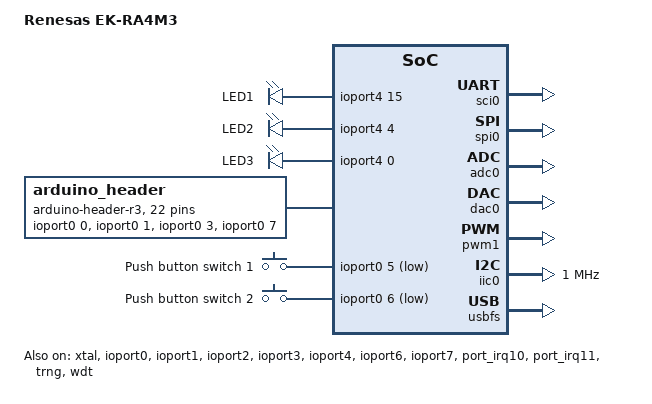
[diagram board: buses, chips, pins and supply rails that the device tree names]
/*
 * Copyright (c) 2024-2025 Renesas Electronics Corporation
 * SPDX-License-Identifier: Apache-2.0
 */

/dts-v1/;

#include <renesas/ra/ra4/r7fa4m3af3cfb.dtsi>
#include <dt-bindings/gpio/gpio.h>
#include <dt-bindings/input/input-event-codes.h>
#include <zephyr/dt-bindings/adc/adc.h>
#include <zephyr/dt-bindings/gpio/arduino-header-r3.h>

#include "ek_ra4m3-pinctrl.dtsi"

/ {
	model = "Renesas EK-RA4M3";
	compatible = "renesas,ra4m3", "renesas,ra";

	chosen {
		zephyr,sram = &sram0;
		zephyr,flash-controller = &flash1;
		zephyr,flash = &flash0;
		zephyr,console = &uart0;
		zephyr,shell-uart = &uart0;
		zephyr,entropy = &trng;
	};

	leds {
		compatible = "gpio-leds";
		led1: led1 {
			gpios = <&ioport4 15 GPIO_ACTIVE_HIGH>;
			label = "LED1";
		};
		led2: led2 {
			gpios = <&ioport4 4 GPIO_ACTIVE_HIGH>;
			label = "LED2";
		};
		led3: led3 {
			gpios = <&ioport4 0 GPIO_ACTIVE_HIGH>;
			label = "LED3";
		};
	};

	arduino_header: arduino-connector {
		compatible = "arduino-header-r3";
		#gpio-cells = <2>;
		gpio-map-mask = <0xffffffff 0xffffffc0>;
		gpio-map-pass-thru = <0 0x3f>;
		gpio-map = <ARDUINO_HEADER_R3_A0 0 &ioport0 0 0>,
			   <ARDUINO_HEADER_R3_A1 0 &ioport0 1 0>,
			   <ARDUINO_HEADER_R3_A2 0 &ioport0 3 0>,
			   <ARDUINO_HEADER_R3_A3 0 &ioport0 7 0>,
			   <ARDUINO_HEADER_R3_A4 0 &ioport0 14 0>,
			   <ARDUINO_HEADER_R3_A5 0 &ioport0 15 0>,
			   <ARDUINO_HEADER_R3_D0 0 &ioport1 0 0>,
			   <ARDUINO_HEADER_R3_D1 0 &ioport1 1 0>,
			   <ARDUINO_HEADER_R3_D2 0 &ioport1 5 0>,
			   <ARDUINO_HEADER_R3_D3 0 &ioport1 11 0>,
			   <ARDUINO_HEADER_R3_D4 0 &ioport7 13 0>,
			   <ARDUINO_HEADER_R3_D5 0 &ioport7 12 0>,
			   <ARDUINO_HEADER_R3_D6 0 &ioport4 8 0>,
			   <ARDUINO_HEADER_R3_D7 0 &ioport3 4 0>,
			   <ARDUINO_HEADER_R3_D8 0 &ioport6 11 0>,
			   <ARDUINO_HEADER_R3_D9 0 &ioport3 3 0>,
			   <ARDUINO_HEADER_R3_D10 0 &ioport2 5 0>,
			   <ARDUINO_HEADER_R3_D11 0 &ioport2 3 0>,
			   <ARDUINO_HEADER_R3_D12 0 &ioport2 2 0>,
			   <ARDUINO_HEADER_R3_D13 0 &ioport2 4 0>,
			   <ARDUINO_HEADER_R3_D14 0 &ioport6 2 0>,
			   <ARDUINO_HEADER_R3_D15 0 &ioport6 1 0>;
	};

	buttons {
		compatible = "gpio-keys";
		button0: s1 {
			gpios = <&ioport0 5 (GPIO_PULL_UP | GPIO_ACTIVE_LOW)>;
			label = "Push button switch 1";
			zephyr,code = <INPUT_KEY_0>;
		};
		button1: s2 {
			gpios = <&ioport0 6 (GPIO_PULL_UP | GPIO_ACTIVE_LOW)>;
			label = "Push button switch 2";
			zephyr,code = <INPUT_KEY_1>;
		};
	};

	aliases {
		led0 = &led1;
		sw0 = &button0;
		sw1 = &button1;
		watchdog0 = &wdt;
	};
};

&xtal {
	clock-frequency = <DT_FREQ_M(24)>;
	mosel = <0>;
	#clock-cells = <0>;
	status = "okay";
};

&subclk {
	status = "okay";
};

&pll {
	clocks = <&xtal>;
	div = <3>;
	mul = <25 0>;
	status = "okay";
};

&pll2 {
	clocks = <&xtal>;
	div = <3>;
	mul = <24 0>;
	status = "okay";
};

&uclk {
	clocks = <&pll2>;
	div = <4>;
	status = "okay";
};

&sci0 {
	pinctrl-0 = <&sci0_default>;
	pinctrl-names = "default";
	status = "okay";
	uart0: uart {
		current-speed = <115200>;
		status = "okay";
	};
};

&ioport0 {
	status = "okay";
};

&ioport1 {
	status = "okay";
};

&ioport2 {
	status = "okay";
};

&ioport3 {
	status = "okay";
};

&ioport4 {
	status = "okay";
};

&ioport6 {
	status = "okay";
};

&ioport7 {
	status = "okay";
};

&spi0 {
	pinctrl-0 = <&spi0_default>;
	pinctrl-names = "default";
	status = "okay";
};

&adc0 {
	status = "okay";
	pinctrl-0 = <&adc0_default>;
	pinctrl-names = "default";
};

&dac0 {
	pinctrl-0 = <&dac0_default>;
	pinctrl-names = "default";
	status = "okay";
};

&port_irq10 {
	interrupts = <41 12>;
	status = "okay";
};

&port_irq11 {
	interrupts = <42 12>;
	status = "okay";
};

&pwm1 {
	pinctrl-0 = <&pwm1_default>;
	pinctrl-names = "default";
	interrupts = <63 1>, <64 1>;
	interrupt-names = "gtioca", "overflow";
	status = "okay";
};

&iic0 {
	pinctrl-0 = <&iic0_default>;
	pinctrl-names = "default";
	#address-cells = <1>;
	#size-cells = <0>;
	clock-frequency = <DT_FREQ_M(1)>;
	interrupts = <87 1>, <88 1>, <89 1>, <90 1>;
	interrupt-names = "rxi", "txi", "tei", "eri";
	status = "okay";
};

&flash1 {
	partitions {
		compatible = "fixed-partitions";
		#address-cells = <1>;
		#size-cells = <1>;

		storage_partition: partition@0 {
			label = "storage";
			reg = <0X0 DT_SIZE_K(8)>;
		};
	};
};

&trng {
	status = "okay";
};

&usbfs {
	pinctrl-0 = <&usbfs_default>;
	pinctrl-names = "default";
	maximum-speed = "full-speed";
	status = "okay";
	zephyr_udc0: udc {
		status = "okay";
	};
};

&wdt {
	status = "okay";
};

//arduino_serial: &uart7 {};
//arduino_i2c: &iic1 {};
//arduino_spi: &spi0 {};
